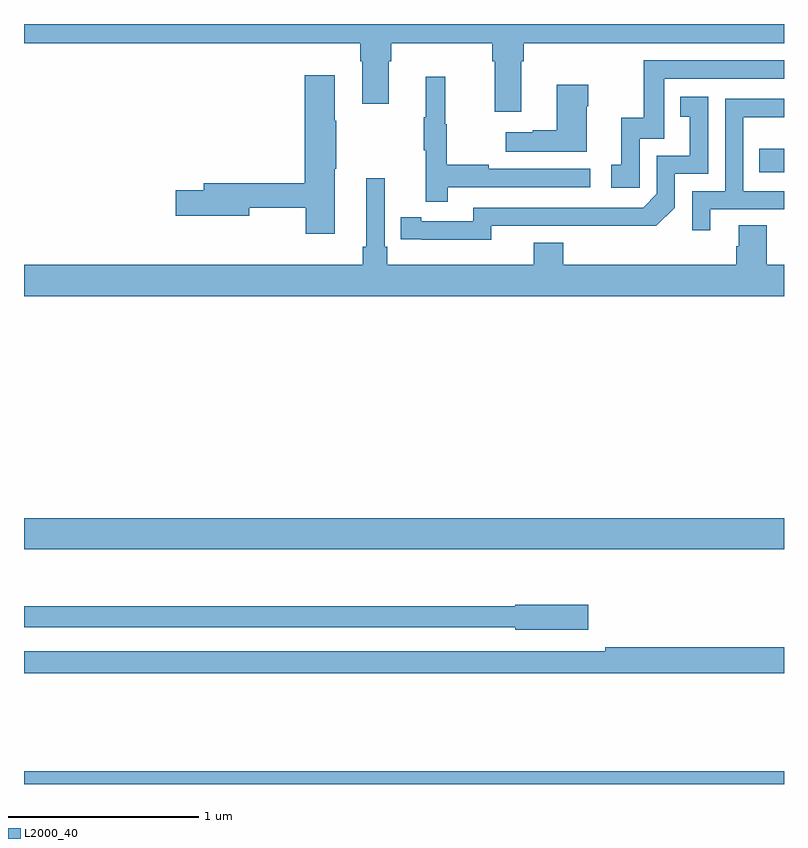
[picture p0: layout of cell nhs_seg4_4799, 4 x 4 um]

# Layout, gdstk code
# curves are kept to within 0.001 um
import gdstk
lib = gdstk.Library(unit=1e-6, precision=1e-09)
def R(c, l, rs):  # rectangles x0, y0, x1, y1
    for r in rs: c.add(gdstk.rectangle(r[:2], r[2:], *l))
def P(c, l, *ps):  # polygons
    for p in ps: c.add(gdstk.Polygon(p, *l))
L2000_40 = (2000, 40)

nhs_seg4_4799 = lib.new_cell('nhs_seg4_4799')
R(nhs_seg4_4799, L2000_40, [(369,812.9,373,812.968), (369,814.136,373,814.3), (372.871,816.12,373,816.243)])
P(nhs_seg4_4799, L2000_40, [(371.617,816.704),(371.63,816.704),(371.63,816.8),(373,816.8),(373,816.9),(369,816.9),(369,816.8),(370.769,816.8),(370.769,816.704),(370.781,816.704),(370.781,816.48),(370.921,816.48),(370.921,816.704),(370.934,816.704),(370.934,816.8),(371.465,816.8),(371.465,816.704),(371.477,816.704),(371.477,816.438),(371.617,816.438)],
  [(372.24,816.297),(372.369,816.297),(372.369,816.612),(373,816.612),(373,816.708),(372.261,816.708),(372.261,816.406),(372.143,816.406),(372.143,816.159),(372.09,816.159),(372.09,816.039),(372.24,816.039)],
  [(370.636,816.139),(370.644,816.139),(370.644,816.392),(370.636,816.392),(370.636,816.631),(370.478,816.631),(370.478,816.062),(369.947,816.062),(369.947,816.026),(369.798,816.026),(369.798,815.891),(370.186,815.891),(370.186,815.934),(370.483,815.934),(370.483,815.796),(370.636,815.796)],
  [(371.231,816.042),(371.98,816.042),(371.98,816.138),(371.447,816.138),(371.447,816.158),(371.224,816.158),(371.224,816.372),(371.216,816.372),(371.216,816.622),(371.114,816.622),(371.114,816.409),(371.103,816.409),(371.103,816.235),(371.114,816.235),(371.114,815.964),(371.231,815.964)],
  [(371.962,816.467),(371.97,816.467),(371.97,816.58),(371.804,816.58),(371.804,816.341),(371.678,816.341),(371.678,816.331),(371.535,816.331),(371.535,816.227),(371.962,816.227)],
  [(371.46,815.838),(372.328,815.837),(372.426,815.934),(372.426,816.111),(372.6,816.111),(372.6,816.517),(372.454,816.517),(372.454,816.411),(372.503,816.411),(372.503,816.207),(372.33,816.207),(372.33,816.006),(372.258,815.934),(371.364,815.934),(371.364,815.862),(371.092,815.862),(371.092,815.882),(370.984,815.882),(370.984,815.766),(371.46,815.765)],
  [(372.613,815.925),(373,815.925),(373,816.021),(372.786,816.021),(372.786,816.41),(373,816.41),(373,816.507),(372.69,816.507),(372.69,816.021),(372.516,816.021),(372.516,815.814),(372.613,815.814)],
  [(373,815.632),(372.909,815.632),(372.909,815.84),(372.761,815.84),(372.761,815.73),(372.749,815.73),(372.749,815.632),(371.837,815.632),(371.837,815.749),(371.684,815.749),(371.684,815.632),(370.913,815.632),(370.913,815.728),(370.899,815.728),(370.899,816.088),(370.802,816.088),(370.802,815.728),(370.783,815.728),(370.783,815.632),(369,815.632),(369,815.468),(373,815.468)],
  [(371.971,813.843),(371.586,813.843),(371.586,813.835),(369,813.835),(369,813.726),(371.586,813.726),(371.586,813.713),(371.971,813.713)],
  [(373,813.62),(372.058,813.62),(372.058,813.6),(369,813.6),(369,813.484),(373,813.484)])

lib.write_gds('nhs_seg4_4799.gds')
